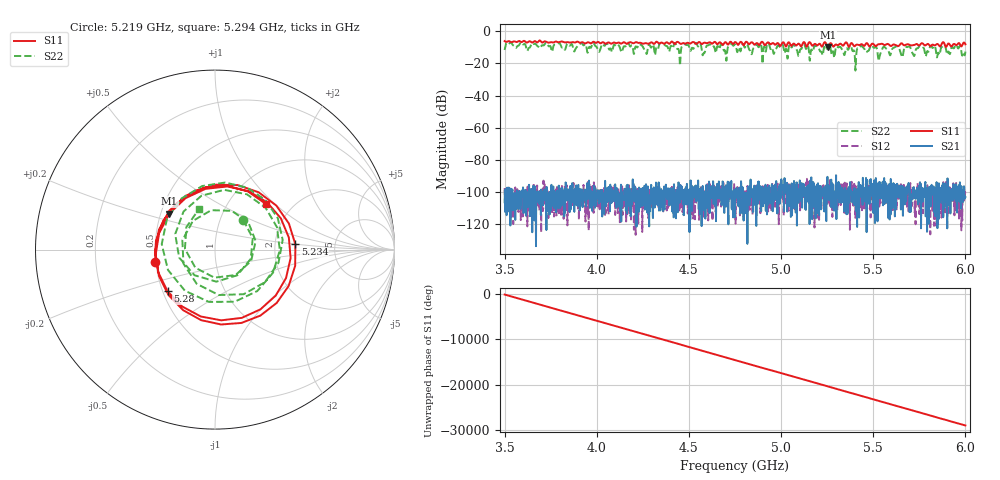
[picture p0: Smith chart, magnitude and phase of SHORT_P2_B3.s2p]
# Hz S RI R 50
! RAW DATA - UNCALIBRATED
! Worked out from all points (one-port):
!   1601 points, 3.5 GHz to 6 GHz, reference 50 ohm
!   lowest |S11| = -9.8 dB at 5.255 GHz (marker M1), VSWR 1.96, Z = 27.7 + j12.5 ohm
!   |S11| at or under -10 dB: nowhere
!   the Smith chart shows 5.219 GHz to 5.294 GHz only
!   S11 on the Smith chart (normalised r, x): 5.219 GHz: 0.50, -0.08; 5.234 GHz: 2.61, +0.19; 5.28 GHz: 0.53, -0.28; 5.294 GHz: 1.48, +0.88
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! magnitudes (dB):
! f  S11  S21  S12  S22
! 3.5 GHz  -6.1  -106.3  -97.5  -11.7
! 3.917 GHz  -6.9  -98.8  -99.2  -7.3
! 4.334 GHz  -7.4  -98.8  -108.6  -10.4
! 4.428 GHz  -7.4  -102.9  -109.3  -8.0
! 4.447 GHz  -7.2  -100.4  -106.1  -13.1
! 4.484 GHz  -7.6  -97.5  -100.4  -8.4
! 4.58 GHz  -7.3  -111.0  -100.8  -13.5
! 4.608 GHz  -7.0  -112.5  -101.8  -8.5
! 4.697 GHz  -6.8  -102.4  -105.6  -12.4
! 4.75 GHz  -6.8  -115.5  -107.0  -8.1
! 5.167 GHz  -8.8  -100.2  -102.6  -11.8
! 5.219 GHz  -9.3  -101.4  -101.3  -12.8
! 5.234 GHz  -7.0  -112.0  -102.2  -9.5
! 5.255 GHz  -9.8  -101.2  -97.6  -9.4
! 5.28 GHz  -9.1  -106.5  -105.3  -12.6
! 5.294 GHz  -8.4  -105.8  -105.7  -12.3
! 5.584 GHz  -8.2  -98.8  -110.2  -12.7
! 5.791 GHz  -8.1  -97.5  -102.2  -12.9
! 5.822 GHz  -8.3  -98.2  -111.6  -10.4
! 5.853 GHz  -8.3  -98.0  -108.9  -13.3
! 5.956 GHz  -8.2  -98.2  -104.5  -9.8
! 6 GHz  -8.1  -103.0  -101.9  -12.7
